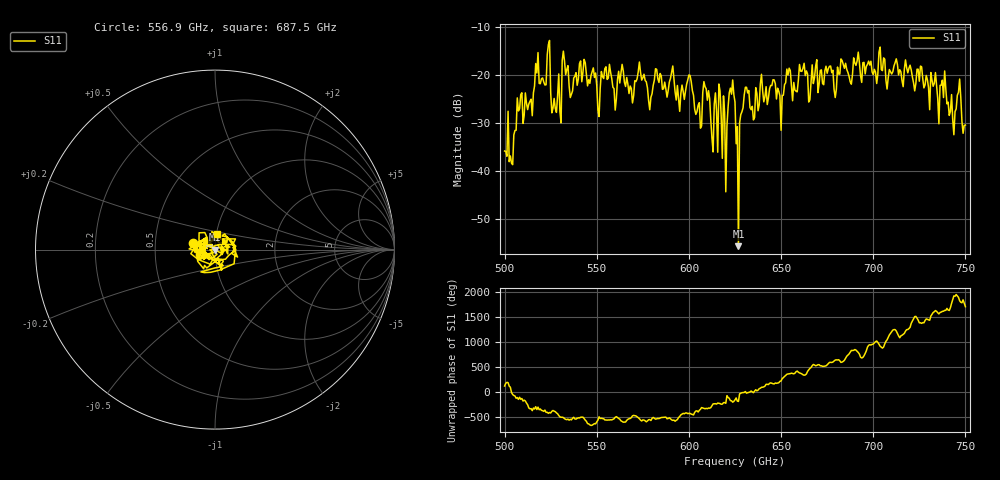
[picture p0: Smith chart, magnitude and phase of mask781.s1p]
!Created with skrf (http://scikit-rf.org).
# GHz S MA R 50.0
!freq magS11 angS11
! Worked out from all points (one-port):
!   401 points, 500 GHz to 750 GHz, reference 50 ohm
!   lowest |S11| = -55.8 dB at 626.9 GHz (marker M1), VSWR 1.00, Z = 49.8 + j0.0109 ohm
!   |S11| at or under -10 dB: start of sweep to end of sweep
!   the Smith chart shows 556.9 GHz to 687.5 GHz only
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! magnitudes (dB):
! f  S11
! 500 GHz  -35.9
! 503.8 GHz  -38.4
! 508.1 GHz  -27.1
! 513.8 GHz  -25.5
! 517.5 GHz  -19.6
! 523.8 GHz  -13.6
! 526.9 GHz  -24.9
! 531.2 GHz  -17.0
! 562.5 GHz  -21.7
! 590.6 GHz  -19.5
! 593.8 GHz  -22.2
! 600 GHz  -20.0
! 605.6 GHz  -25.8
! 609.4 GHz  -22.9
! 619.4 GHz  -27.9
! 622.5 GHz  -22.8
! 625 GHz  -25.6
! 625.6 GHz  -34.4
! 626.9 GHz  -55.8
! 631.2 GHz  -22.6
! 634.4 GHz  -26.6
! 656.2 GHz  -25.4
! 687.5 GHz  -21.4
! 718.8 GHz  -19.6
! 738.1 GHz  -24.7
! 742.5 GHz  -24.1
! 746.2 GHz  -23.6
! 750 GHz  -30.5
